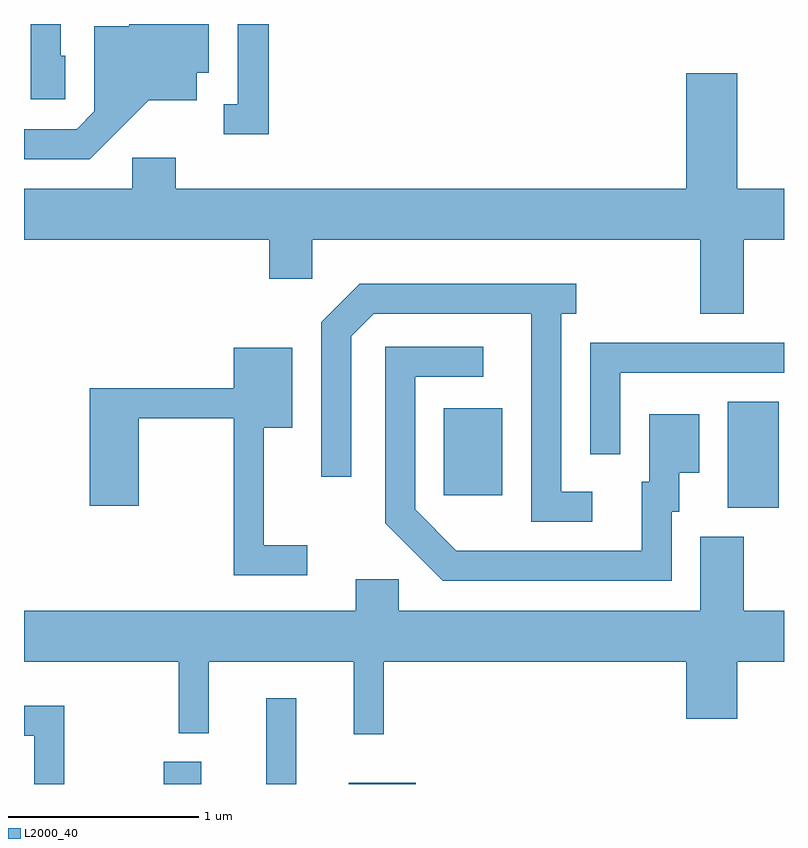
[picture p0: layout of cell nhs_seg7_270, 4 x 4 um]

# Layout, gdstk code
import gdstk
lib = gdstk.Library(unit=1e-6, precision=1e-09)
def R(c, l, rs):  # rectangles x0, y0, x1, y1
    for r in rs: c.add(gdstk.rectangle(r[:2], r[2:], *l))
def P(c, l, *ps):  # polygons
    for p in ps: c.add(gdstk.Polygon(p, *l))
L2000_40 = (2000, 40)

nhs_seg7_270 = lib.new_cell('nhs_seg7_270')
R(nhs_seg7_270, L2000_40, [(192.346,1800.252,192.544,1800.369), (192.886,1800.252,193.044,1800.703), (193.321,1800.252,193.674,1800.259), (195.316,1801.706,195.584,1802.264), (193.821,1801.771,194.129,1802.229)])
P(nhs_seg7_270, L2000_40, [(192.267,1803.851),(192.519,1803.851),(192.519,1803.996),(192.584,1803.996),(192.584,1804.252),(192.166,1804.252),(192.166,1804.239),(191.981,1804.239),(191.981,1803.792),(191.889,1803.699),(191.611,1803.699),(191.611,1803.541),(191.957,1803.541)],
  [(191.829,1804.084),(191.804,1804.084),(191.804,1804.252),(191.646,1804.252),(191.646,1803.856),(191.829,1803.856)],
  [(192.899,1804.252),(192.736,1804.252),(192.736,1803.829),(192.663,1803.829),(192.663,1803.671),(192.899,1803.671)],
  [(195.399,1803.116),(195.611,1803.116),(195.611,1803.384),(195.364,1803.384),(195.364,1803.994),(195.096,1803.994),(195.096,1803.384),(192.409,1803.384),(192.409,1803.549),(192.181,1803.549),(192.181,1803.384),(191.611,1803.384),(191.611,1803.116),(192.901,1803.116),(192.901,1802.911),(193.129,1802.911),(193.129,1803.116),(195.171,1803.116),(195.171,1802.726),(195.399,1802.726)],
  [(194.603,1801.789),(194.439,1801.789),(194.439,1802.726),(194.518,1802.726),(194.518,1802.884),(193.379,1802.884),(193.176,1802.682),(193.176,1801.868),(193.334,1801.868),(193.334,1802.609),(193.452,1802.726),(194.281,1802.726),(194.281,1801.631),(194.603,1801.631)],
  [(194.749,1802.416),(195.611,1802.416),(195.611,1802.574),(194.591,1802.574),(194.591,1801.988),(194.749,1801.988)],
  [(195.019,1801.686),(195.059,1801.686),(195.059,1801.891),(195.164,1801.891),(195.164,1802.199),(194.901,1802.199),(194.901,1801.844),(194.861,1801.844),(194.861,1801.479),(193.887,1801.479),(193.669,1801.697),(193.669,1802.396),(194.028,1802.396),(194.028,1802.554),(193.511,1802.554),(193.511,1801.624),(193.814,1801.321),(195.019,1801.321)],
  [(193.103,1801.509),(192.874,1801.509),(192.874,1802.126),(193.024,1802.126),(193.024,1802.549),(192.716,1802.549),(192.716,1802.334),(191.956,1802.334),(191.956,1801.716),(192.214,1801.716),(192.214,1802.176),(192.716,1802.176),(192.716,1801.351),(193.103,1801.351)],
  [(193.504,1800.896),(195.096,1800.896),(195.096,1800.596),(195.364,1800.596),(195.364,1800.896),(195.611,1800.896),(195.611,1801.164),(195.399,1801.164),(195.399,1801.554),(195.171,1801.554),(195.171,1801.164),(193.584,1801.164),(193.584,1801.329),(193.356,1801.329),(193.356,1801.164),(191.611,1801.164),(191.611,1800.896),(192.426,1800.896),(192.426,1800.518),(192.584,1800.518),(192.584,1800.896),(193.346,1800.896),(193.346,1800.513),(193.504,1800.513)],
  [(191.824,1800.664),(191.611,1800.664),(191.611,1800.506),(191.666,1800.506),(191.666,1800.252),(191.824,1800.252)])

lib.write_gds('nhs_seg7_270.gds')
